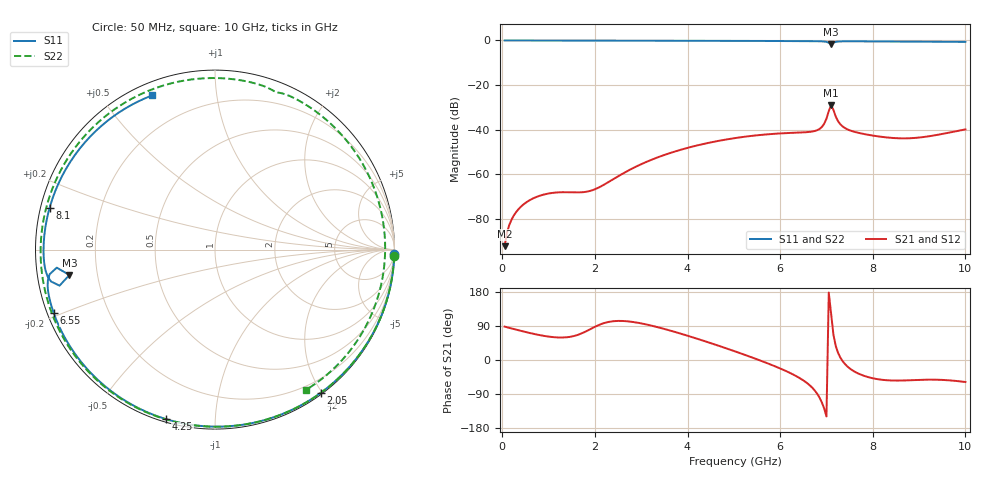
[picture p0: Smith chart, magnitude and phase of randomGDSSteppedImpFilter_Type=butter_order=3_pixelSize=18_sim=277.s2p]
! freq	dB(S11)	phase(S11)	dB(S12)	phase(S12)
!  dB(S21)	phase(S21)	dB(S22)	phase(S22)
!S-par simulation data
#  GHz  S  DB  R 50
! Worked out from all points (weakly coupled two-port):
!   200 points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, 50 MHz to 10 GHz, reference 50 ohm
!   highest |S21| = -28.98 dB at 7.1 GHz (marker M1); lowest = -92.2 dB at 50 MHz (marker M2)
!   lowest |S11| = -1.7 dB at 7.1 GHz (marker M3), VSWR 10.33, Z = 4.87 - j4.28 ohm
!   |S11| at or under -10 dB: nowhere
!   |S22| runs from -0.6 to 0.0 dB; largest |S21 - S12| = 0
!   S11 on the Smith chart (normalised r, x): 50 MHz: 1, -84; 2.05 GHz: 0.02, -1.98; 4.25 GHz: 0.01, -0.75; 6.55 GHz: 0.02, -0.19; 8.1 GHz: 0.03, +0.12; 10 GHz: 0.05, +0.67
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0.05  -0.00 -1.4  -92.21 88.1  -92.21 88.1  -0.01 -2.1
0.2  -0.01 -5.4  -80.30 83.3  -80.30 83.3  -0.01 -8.1
0.45  -0.01 -12.0  -73.63 75.5  -73.63 75.5  -0.02 -18.2
0.8  -0.02 -21.3  -69.66 65.8  -69.66 65.8  -0.04 -32.3
1.75  -0.06 -46.0  -67.99 72.2  -67.99 72.2  -0.09 -69.5
2.05  -0.07 -53.6  -66.25 90.5  -66.25 90.5  -0.10 -81.0
2.7  -0.09 -69.7  -58.55 102.1  -58.55 102.1  -0.13 -105.6
3.4  -0.11 -86.5  -52.06 85.2  -52.06 85.2  -0.17 -131.9
4.25  -0.15 -106.2  -46.85 54.5  -46.85 54.5  -0.22 -164.4
5.05  -0.19 -124.2  -43.69 21.7  -43.69 21.7  -0.28 163.3
5.75  -0.23 -139.9  -42.03 -9.8  -42.03 -9.8  -0.33 132.8
6.55  -0.30 -158.4  -41.15 -58.0  -41.15 -58.0  -0.39 95.4
6.7  -0.33 -162.1  -40.80 -74.0  -40.80 -74.0  -0.39 88.1
6.95  -0.47 -169.5  -37.38 -127.6  -37.38 -127.6  -0.42 75.8
7.1  -1.69 -170.1  -28.98 122.0  -28.98 122.0  -0.53 68.8
7.15  -1.02 -166.9  -31.11 67.2  -31.11 67.2  -0.47 66.7
7.25  -0.49 -171.1  -36.19 19.0  -36.19 19.0  -0.42 61.6
7.4  -0.40 -175.9  -39.27 -10.7  -39.27 -10.7  -0.42 54.1
8.1  -0.44 165.9  -42.95 -50.5  -42.95 -50.5  -0.44 20.5
8.35  -0.47 159.4  -43.57 -53.8  -43.57 -53.8  -0.45 9.1
9.1  -0.55 139.0  -43.28 -52.0  -43.28 -52.0  -0.50 -23.1
10  -0.65 112.1  -39.87 -58.1  -39.87 -58.1  -0.62 -57.0
